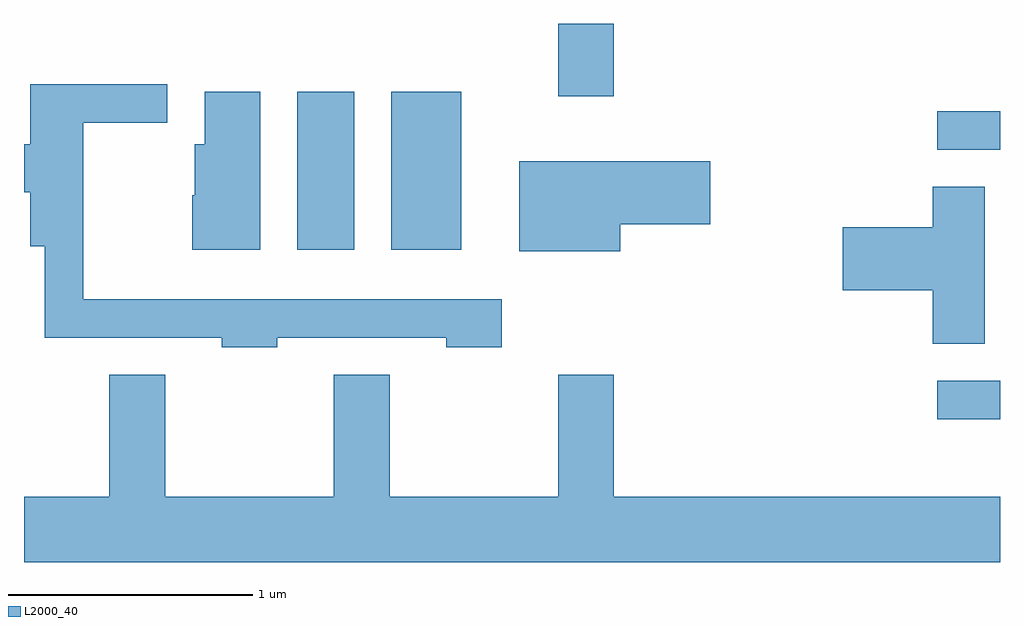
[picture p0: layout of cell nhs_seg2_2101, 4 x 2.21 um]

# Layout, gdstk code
import gdstk
lib = gdstk.Library(unit=1e-6, precision=1e-09)
def R(c, l, rs):  # rectangles x0, y0, x1, y1
    for r in rs: c.add(gdstk.rectangle(r[:2], r[2:], *l))
def P(c, l, *ps):  # polygons
    for p in ps: c.add(gdstk.Polygon(p, *l))
L2000_40 = (2000, 40)

nhs_seg2_2101 = lib.new_cell('nhs_seg2_2101')
R(nhs_seg2_2101, L2000_40, [(249.353,1102.181,249.611,1102.339), (246.731,1102.876,246.964,1103.524), (247.116,1102.876,247.404,1103.524), (249.353,1103.286,249.611,1103.444), (247.801,1103.506,248.029,1103.802)])
P(nhs_seg2_2101, L2000_40, [(246.649,1102.516),(247.341,1102.516),(247.341,1102.476),(247.569,1102.476),(247.569,1102.674),(245.854,1102.674),(245.854,1103.396),(246.198,1103.396),(246.198,1103.554),(245.636,1103.554),(245.636,1103.309),(245.611,1103.309),(245.611,1103.111),(245.636,1103.111),(245.636,1102.891),(245.696,1102.891),(245.696,1102.516),(246.421,1102.516),(246.421,1102.476),(246.649,1102.476)],
  [(246.579,1103.524),(246.351,1103.524),(246.351,1103.309),(246.311,1103.309),(246.311,1103.1),(246.301,1103.1),(246.301,1102.876),(246.579,1102.876)],
  [(248.054,1102.981),(248.424,1102.981),(248.424,1103.239),(247.641,1103.239),(247.641,1102.871),(248.054,1102.871)],
  [(249.549,1103.134),(249.336,1103.134),(249.336,1102.969),(248.966,1102.969),(248.966,1102.711),(249.336,1102.711),(249.336,1102.491),(249.549,1102.491)],
  [(249.611,1101.864),(248.029,1101.864),(248.029,1102.364),(247.801,1102.364),(247.801,1101.864),(247.109,1101.864),(247.109,1102.364),(246.881,1102.364),(246.881,1101.864),(246.189,1101.864),(246.189,1102.364),(245.961,1102.364),(245.961,1101.864),(245.611,1101.864),(245.611,1101.596),(249.611,1101.596)])

lib.write_gds('nhs_seg2_2101.gds')
